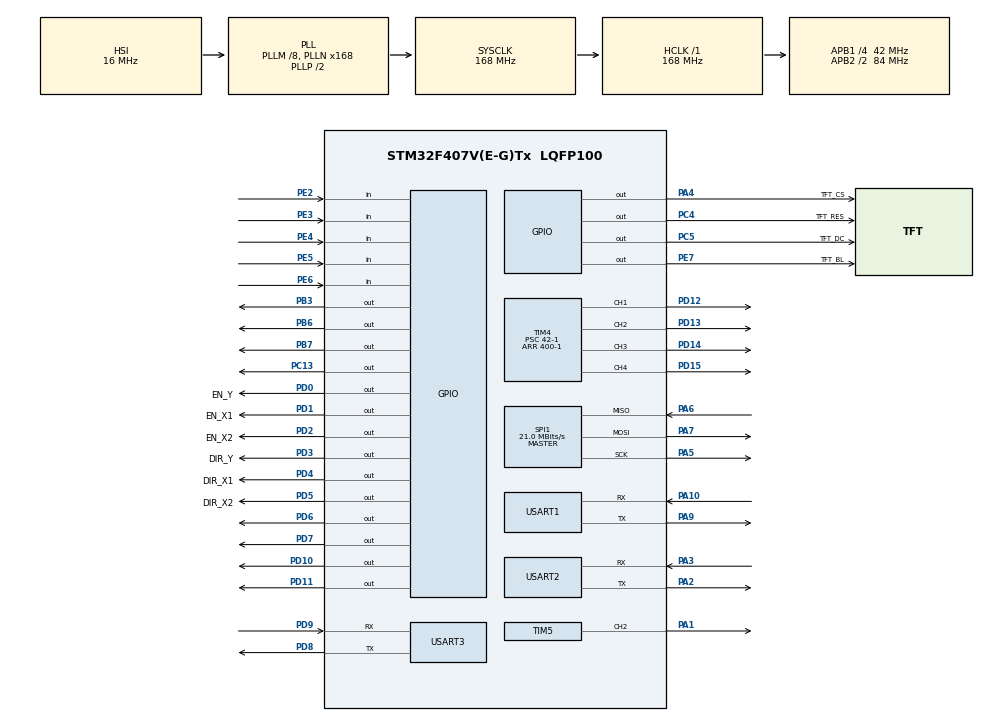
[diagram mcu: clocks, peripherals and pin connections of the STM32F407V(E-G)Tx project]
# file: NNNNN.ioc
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Dma.Request0=USART2_RX
Dma.Request1=USART2_TX
Dma.USART2_RX.0.Direction=DMA_PERIPH_TO_MEMORY
Dma.USART2_RX.0.FIFOMode=DMA_FIFOMODE_DISABLE
Dma.USART2_RX.0.Instance=DMA1_Stream5
Dma.USART2_RX.0.MemDataAlignment=DMA_MDATAALIGN_BYTE
Dma.USART2_RX.0.MemInc=DMA_MINC_ENABLE
Dma.USART2_RX.0.Mode=DMA_NORMAL
Dma.USART2_RX.0.PeriphDataAlignment=DMA_PDATAALIGN_BYTE
Dma.USART2_RX.0.PeriphInc=DMA_PINC_DISABLE
Dma.USART2_RX.0.Priority=DMA_PRIORITY_MEDIUM
Dma.USART2_TX.1.Direction=DMA_MEMORY_TO_PERIPH
Dma.USART2_TX.1.FIFOMode=DMA_FIFOMODE_DISABLE
Dma.USART2_TX.1.Instance=DMA1_Stream6
Dma.USART2_TX.1.MemDataAlignment=DMA_MDATAALIGN_BYTE
Dma.USART2_TX.1.MemInc=DMA_MINC_ENABLE
Dma.USART2_TX.1.Mode=DMA_NORMAL
Dma.USART2_TX.1.PeriphDataAlignment=DMA_PDATAALIGN_BYTE
Dma.USART2_TX.1.PeriphInc=DMA_PINC_DISABLE
Dma.USART2_TX.1.Priority=DMA_PRIORITY_MEDIUM
Mcu.Family=STM32F4
Mcu.Name=STM32F407V(E-G)Tx
Mcu.Package=LQFP100
NVIC.DMA1_Stream5_IRQn=true\:0\:0\:false\:false\:true\:false\:true\:true
NVIC.DMA1_Stream6_IRQn=true\:0\:0\:false\:false\:true\:false\:true\:true
NVIC.PriorityGroup=NVIC_PRIORITYGROUP_4
NVIC.TIM2_IRQn=true\:0\:0\:false\:false\:true\:true\:true\:true
NVIC.TIM4_IRQn=true\:0\:0\:false\:false\:true\:true\:true\:true
NVIC.TIM5_IRQn=true\:0\:0\:false\:false\:true\:true\:true\:true
NVIC.USART1_IRQn=true\:0\:0\:false\:false\:true\:true\:true\:true
NVIC.USART2_IRQn=true\:0\:0\:false\:false\:true\:true\:true\:true
NVIC.USART3_IRQn=true\:0\:0\:false\:false\:true\:true\:true\:true
PA1.Signal=S_TIM5_CH2
PA10.Mode=Asynchronous
PA10.Signal=USART1_RX
PA13.Mode=Serial_Wire
PA13.Signal=SYS_JTMS-SWDIO
PA14.Mode=Serial_Wire
PA14.Signal=SYS_JTCK-SWCLK
PA2.Mode=Asynchronous
PA2.Signal=USART2_TX
PA3.Mode=Asynchronous
PA3.Signal=USART2_RX
PA4.GPIO_Label=TFT_CS
PA4.GPIO_PuPd=GPIO_PULLUP
PA4.GPIO_Speed=GPIO_SPEED_FREQ_HIGH
PA4.PinState=GPIO_PIN_SET
PA4.Signal=GPIO_Output
PA5.Mode=Full_Duplex_Master
PA5.Signal=SPI1_SCK
PA6.Mode=Full_Duplex_Master
PA6.Signal=SPI1_MISO
PA7.Mode=Full_Duplex_Master
PA7.Signal=SPI1_MOSI
PA9.Mode=Asynchronous
PA9.Signal=USART1_TX
PB3.Signal=GPIO_Output
PB6.Signal=GPIO_Output
PB7.Signal=GPIO_Output
PC13-ANTI_TAMP.Signal=GPIO_Output
PC4.GPIO_Label=TFT_RES
PC4.GPIO_PuPd=GPIO_PULLUP
PC4.GPIO_Speed=GPIO_SPEED_FREQ_HIGH
PC4.PinState=GPIO_PIN_SET
PC4.Signal=GPIO_Output
PC5.GPIO_Label=TFT_DC
PC5.GPIO_PuPd=GPIO_PULLUP
PC5.GPIO_Speed=GPIO_SPEED_FREQ_HIGH
PC5.PinState=GPIO_PIN_SET
PC5.Signal=GPIO_Output
PD0.GPIO_Label=EN_Y
PD0.Signal=GPIO_Output
PD1.GPIO_Label=EN_X1
PD1.Signal=GPIO_Output
PD10.PinState=GPIO_PIN_SET
PD10.Signal=GPIO_Output
PD11.Signal=GPIO_Output
PD12.Signal=S_TIM4_CH1
PD13.Signal=S_TIM4_CH2
PD14.Signal=S_TIM4_CH3
PD15.Signal=S_TIM4_CH4
PD2.GPIO_Label=EN_X2
PD2.Signal=GPIO_Output
PD3.GPIO_Label=DIR_Y
PD3.Signal=GPIO_Output
PD4.GPIO_Label=DIR_X1
PD4.Signal=GPIO_Output
PD5.GPIO_Label=DIR_X2
PD5.Signal=GPIO_Output
PD6.Signal=GPIO_Output
PD7.Signal=GPIO_Output
PD8.Mode=Asynchronous
PD8.Signal=USART3_TX
PD9.Mode=Asynchronous
PD9.Signal=USART3_RX
PE2.GPIO_PuPd=GPIO_PULLUP
PE2.Signal=GPIO_Input
PE3.Signal=GPIO_Input
PE4.GPIO_PuPd=GPIO_PULLUP
PE4.Signal=GPIO_Input
PE5.GPIO_PuPd=GPIO_PULLUP
PE5.Signal=GPIO_Input
PE6.GPIO_PuPd=GPIO_PULLUP
PE6.Signal=GPIO_Input
PE7.GPIO_Label=TFT_BL
PE7.GPIO_PuPd=GPIO_PULLUP
PE7.GPIO_Speed=GPIO_SPEED_FREQ_HIGH
PE7.PinState=GPIO_PIN_SET
PE7.Signal=GPIO_Output
PH0-OSC_IN.Mode=HSE-External-Oscillator
PH0-OSC_IN.Signal=RCC_OSC_IN
PH1-OSC_OUT.Mode=HSE-External-Oscillator
PH1-OSC_OUT.Signal=RCC_OSC_OUT
ProjectManager.HeapSize=0x200
ProjectManager.StackSize=0x400
ProjectManager.TargetToolchain=MDK-ARM V5.32
RCC.48MHZClocksFreq_Value=48000000
RCC.AHBFreq_Value=168000000
RCC.APB1CLKDivider=RCC_HCLK_DIV4
RCC.APB1Freq_Value=42000000
RCC.APB1TimFreq_Value=84000000
RCC.APB2CLKDivider=RCC_HCLK_DIV2
RCC.APB2Freq_Value=84000000
RCC.APB2TimFreq_Value=168000000
RCC.CortexFreq_Value=168000000
RCC.HCLKFreq_Value=168000000
RCC.HSE_VALUE=25000000
RCC.HSI_VALUE=16000000
RCC.LSE_VALUE=32768
RCC.PLLM=8
RCC.PLLN=168
RCC.PLLQ=7
RCC.SYSCLKFreq_VALUE=168000000
RCC.SYSCLKSource=RCC_SYSCLKSOURCE_PLLCLK
RCC.VCOOutputFreq_Value=336000000
SH.S_TIM4_CH1.0=TIM4_CH1,PWM Generation1 CH1
SH.S_TIM4_CH2.0=TIM4_CH2,PWM Generation2 CH2
SH.S_TIM4_CH3.0=TIM4_CH3,PWM Generation3 CH3
SH.S_TIM4_CH4.0=TIM4_CH4,PWM Generation4 CH4
SH.S_TIM5_CH2.0=TIM5_CH2,PWM Generation2 CH2
SPI1.BaudRatePrescaler=SPI_BAUDRATEPRESCALER_4
SPI1.CalculateBaudRate=21.0 MBits/s
SPI1.Direction=SPI_DIRECTION_2LINES
SPI1.Mode=SPI_MODE_MASTER
SPI1.VirtualType=VM_MASTER
TIM2.Period=10000
TIM2.Prescaler=84-1
TIM4.Channel-PWM\ Generation1\ CH1=TIM_CHANNEL_1
TIM4.Channel-PWM\ Generation2\ CH2=TIM_CHANNEL_2
TIM4.Channel-PWM\ Generation3\ CH3=TIM_CHANNEL_3
TIM4.Channel-PWM\ Generation4\ CH4=TIM_CHANNEL_4
TIM4.Period=400-1
TIM4.Prescaler=42-1
TIM5.Channel-PWM\ Generation2\ CH2=TIM_CHANNEL_2
TIM5.Period=5000-1
TIM5.Prescaler=168-1
USART1.VirtualMode=VM_ASYNC
USART2.VirtualMode=VM_ASYNC
USART3.VirtualMode=VM_ASYNC
VP_TIM2_VS_ClockSourceINT.Mode=Internal
VP_TIM4_VS_ClockSourceINT.Mode=Internal
VP_TIM5_VS_ClockSourceINT.Mode=Internal
board=custom

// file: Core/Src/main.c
/* USER CODE BEGIN Header */
/**
  ******************************************************************************
  * @file           : main.c
  * @brief          : Main program body
  ******************************************************************************
  * @attention
  *
  * Copyright (c) 2024 STMicroelectronics.
  * All rights reserved.
  *
  * This software is licensed under terms that can be found in the LICENSE file
  * in the root directory of this software component.
  * If no LICENSE file comes with this software, it is provided AS-IS.
  *
  ******************************************************************************
  */
/* USER CODE END Header */
#include "main.h"
#include "dma.h"
#include "spi.h"
#include "tim.h"
#include "usart.h"
#include "gpio.h"

/* USER CODE BEGIN Includes */

#include "pic.h"
#include "head_files.h"
/* USER CODE END Includes */

/* USER CODE BEGIN PTD */

#define compare 200

/* USER CODE END PTD */

void SystemClock_Config(void);

int main(void)
{

  /* MCU Configuration--------------------------------------------------------*/

  /* Reset of all peripherals, Initializes the Flash interface and the Systick. */
  HAL_Init();

  /* Configure the system clock */
  SystemClock_Config();

  /* Initialize all configured peripherals */
  MX_GPIO_Init();
  MX_DMA_Init();
  MX_SPI1_Init();
  MX_TIM4_Init();
  MX_USART1_UART_Init();
  MX_USART2_UART_Init();
  MX_USART3_UART_Init();
  MX_TIM2_Init();
  MX_TIM5_Init();
  /* USER CODE BEGIN 2 */

	LCD_Init();
	LCD_Fill(0,0,LCD_W,LCD_H,WHITE);

  HAL_UART_Receive_DMA(&huart2,(uint8_t *)&USART1_NewData_1,1);
	// HAL_UART_Receive_IT(&huart2,(uint8_t *)&USART1_NewData_1,1);

  HAL_TIM_PWM_Start(&htim4, TIM_CHANNEL_1);
  HAL_TIM_PWM_Start(&htim4, TIM_CHANNEL_2);
  HAL_TIM_PWM_Start(&htim4, TIM_CHANNEL_3);
  HAL_TIM_PWM_Start(&htim4, TIM_CHANNEL_4);

  // __HAL_TIM_SetCompare(&htim3, TIM_CHANNEL_1, 900);

  __HAL_TIM_SetCompare(&htim4, TIM_CHANNEL_1, compare);
  __HAL_TIM_SetCompare(&htim4, TIM_CHANNEL_2, compare);
  __HAL_TIM_SetCompare(&htim4, TIM_CHANNEL_3, compare);
  __HAL_TIM_SetCompare(&htim4, TIM_CHANNEL_4, compare);

  HAL_GPIO_WritePin(EN_X1_GPIO_Port, EN_X1_Pin, GPIO_PIN_RESET);
  HAL_GPIO_WritePin(EN_X2_GPIO_Port, EN_X2_Pin, GPIO_PIN_RESET);
  HAL_GPIO_WritePin(EN_Y_GPIO_Port, EN_Y_Pin, GPIO_PIN_RESET);

  //舵机
  HAL_TIM_PWM_Start(&htim5, TIM_CHANNEL_2);
  //600-900
  __HAL_TIM_SET_COMPARE(&htim5, TIM_CHANNEL_2,700);

	HAL_GPIO_WritePin(GPIOD,GPIO_PIN_11,GPIO_PIN_RESET);

	light_off();

	//定时
	HAL_TIM_Base_Start_IT(&htim2);
  //步进
  HAL_TIM_Base_Start_IT(&htim4);

  /* USER CODE END 2 */

  /* Infinite loop */
  /* USER CODE BEGIN WHILE */
  while (1)
  {
		// 1 push  2 right 3 left 4 down 5 up

		main_menu();

    // LCD_ShowIntNum(0,0,step_total_x,3,RED,WHITE,16);LCD_ShowIntNum(40,0,step_total_y,3,RED,WHITE,16);
		//
    // // LCD_ShowIntNum(0,20,Topic,1,RED,WHITE,16);
    // // LCD_ShowIntNum(0,50,x1,3,RED,WHITE,16);LCD_ShowIntNum(40,50,x9,3,RED,WHITE,16);
    // LCD_ShowIntNum(0,60,step_x,5,RED,WHITE,16);LCD_ShowIntNum(60,60,step_y,5,RED,WHITE,16);
    // LCD_ShowIntNum(40,75,move_up,3,RED,WHITE,16);

		// LCD_ShowString(24,50,"LCD_H:",RED,WHITE,16,0);
		// LCD_ShowIntNum(72,50,LCD_H,3,RED,WHITE,16);
		// LCD_ShowFloatNum1(20,80,t,4,RED,WHITE,16);
		// t+=0.11;
//        LCD_ShowPicture(80,70,40,40,gImage_1);

    /* USER CODE END WHILE */

  }
}

void SystemClock_Config(void)
{
  RCC_OscInitTypeDef RCC_OscInitStruct = {0};
  RCC_ClkInitTypeDef RCC_ClkInitStruct = {0};

  /** Configure the main internal regulator output voltage
  */
  __HAL_RCC_PWR_CLK_ENABLE();
  __HAL_PWR_VOLTAGESCALING_CONFIG(PWR_REGULATOR_VOLTAGE_SCALE1);

  /** Initializes the RCC Oscillators according to the specified parameters
  * in the RCC_OscInitTypeDef structure.
  */
  RCC_OscInitStruct.OscillatorType = RCC_OSCILLATORTYPE_HSI;
  RCC_OscInitStruct.HSIState = RCC_HSI_ON;
  RCC_OscInitStruct.HSICalibrationValue = RCC_HSICALIBRATION_DEFAULT;
  RCC_OscInitStruct.PLL.PLLState = RCC_PLL_ON;
  RCC_OscInitStruct.PLL.PLLSource = RCC_PLLSOURCE_HSI;
  RCC_OscInitStruct.PLL.PLLM = 8;
  RCC_OscInitStruct.PLL.PLLN = 168;
  RCC_OscInitStruct.PLL.PLLP = RCC_PLLP_DIV2;
  RCC_OscInitStruct.PLL.PLLQ = 7;
  if (HAL_RCC_OscConfig(&RCC_OscInitStruct) != HAL_OK)
  {
    Error_Handler();
  }

  /** Initializes the CPU, AHB and APB buses clocks
  */
  RCC_ClkInitStruct.ClockType = RCC_CLOCKTYPE_HCLK|RCC_CLOCKTYPE_SYSCLK
                              |RCC_CLOCKTYPE_PCLK1|RCC_CLOCKTYPE_PCLK2;
  RCC_ClkInitStruct.SYSCLKSource = RCC_SYSCLKSOURCE_PLLCLK;
  RCC_ClkInitStruct.AHBCLKDivider = RCC_SYSCLK_DIV1;
  RCC_ClkInitStruct.APB1CLKDivider = RCC_HCLK_DIV4;
  RCC_ClkInitStruct.APB2CLKDivider = RCC_HCLK_DIV2;

  if (HAL_RCC_ClockConfig(&RCC_ClkInitStruct, FLASH_LATENCY_5) != HAL_OK)
  {
    Error_Handler();
  }
}

void Error_Handler(void)
{
  __disable_irq();
  while (1)
  {
  }
}
